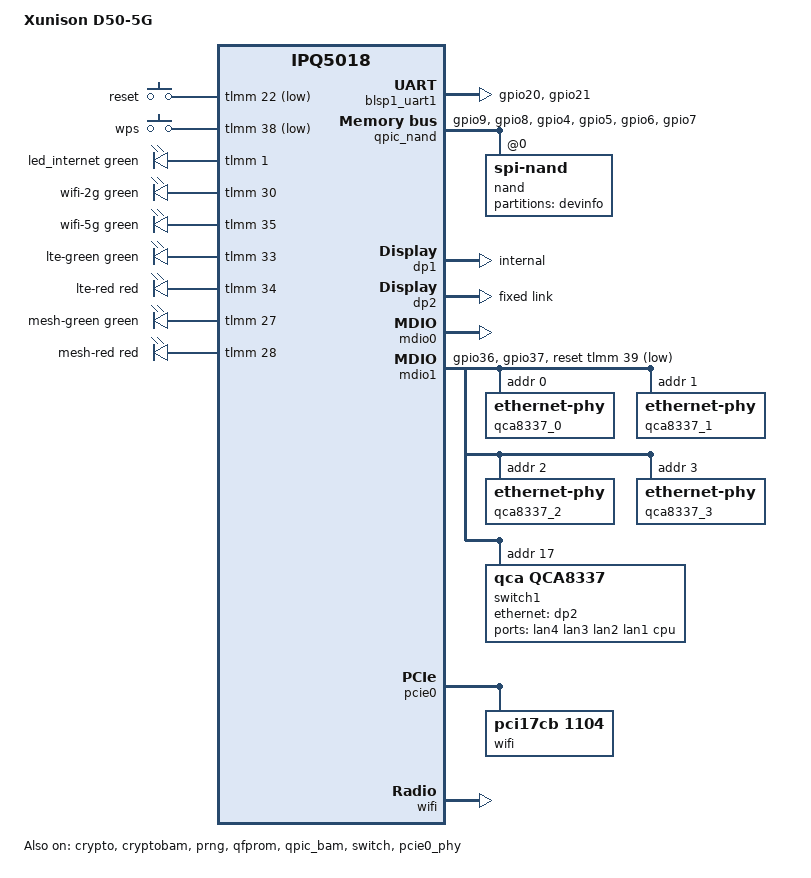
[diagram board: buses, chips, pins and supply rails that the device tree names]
// SPDX-License-Identifier: GPL-2.0-only OR MIT
// Copyright (c) 2024 OpenWrt contributors

/dts-v1/;

#include "ipq5018.dtsi"
#include "ipq5018-ess.dtsi"

#include <dt-bindings/gpio/gpio.h>
#include <dt-bindings/input/input.h>
#include <dt-bindings/leds/common.h>

/*
 * Xunison D50-5G Network Topology:
 *
 *  _______________________         _______________________
 * |        IPQ5018        |       |        QCA AR8327     |
 * | +------+   +--------+ |       | +--------+   +------+ |
 * | | MAC0 |---| GE PHY |-+--MDI-+->|  Phy0  |   | LAN4 | |
 * | +------+   +--------+ |  WAN  | +--------+          | |
 * | +------+   +--------+ |       | +--------+          | |
 * | | MAC1 |---| Uniphy |-+-SGMII-+>| SerDes |---| CPU  | |
 * | +------+   +--------+ |       | +--------+   +------+ |
 * |_______________________|       |      LAN1~LAN4        |
 *                                 |_______________________|
 *
 * WAN: dp1 (MAC0) -> internal GE PHY -> WAN port
 * LAN: dp2 (MAC1) -> SGMII -> QCA AR8327 CPU port -> 4x LAN
 */

/ {
	model = "Xunison D50-5G";
	compatible = "xunison,d50-5g", "qcom,ipq5018";

	aliases {
		serial0 = &blsp1_uart1;
		led-boot = &led_internet;
		led-failsafe = &led_internet;
		led-running = &led_internet;
		led-upgrade = &led_internet;
	};

	chosen {
		bootargs-append = " root=/dev/ubiblock0_0 coherent_pool=2M";
		stdout-path = "serial0:115200n8";
	};

	keys {
		compatible = "gpio-keys";
		pinctrl-0 = <&button_pins>;
		pinctrl-names = "default";

		reset-button {
			label = "reset";
			gpios = <&tlmm 22 GPIO_ACTIVE_LOW>;
			linux,code = <KEY_RESTART>;
			debounce-interval = <60>;
		};

		wps-button {
			label = "wps";
			gpios = <&tlmm 38 GPIO_ACTIVE_LOW>;
			linux,code = <KEY_WPS_BUTTON>;
			debounce-interval = <60>;
		};
	};

	leds {
		compatible = "gpio-leds";
		pinctrl-0 = <&led_pins>;
		pinctrl-names = "default";

		led_internet: internet {
			color = <LED_COLOR_ID_GREEN>;
			function = LED_FUNCTION_WAN;
			gpios = <&tlmm 1 GPIO_ACTIVE_HIGH>;
			default-state = "off";
		};

		wifi-2g {
			color = <LED_COLOR_ID_GREEN>;
			function = LED_FUNCTION_WLAN_2GHZ;
			gpios = <&tlmm 30 GPIO_ACTIVE_HIGH>;
			default-state = "off";
			linux,default-trigger = "phy0radio";
		};

		wifi-5g {
			color = <LED_COLOR_ID_GREEN>;
			function = LED_FUNCTION_WLAN_5GHZ;
			gpios = <&tlmm 35 GPIO_ACTIVE_HIGH>;
			default-state = "off";
			linux,default-trigger = "phy1radio";
		};

		lte-green {
			color = <LED_COLOR_ID_GREEN>;
			function = LED_FUNCTION_MOBILE;
			gpios = <&tlmm 33 GPIO_ACTIVE_HIGH>;
			default-state = "off";
		};

		lte-red {
			color = <LED_COLOR_ID_RED>;
			function = LED_FUNCTION_MOBILE;
			gpios = <&tlmm 34 GPIO_ACTIVE_HIGH>;
			default-state = "off";
		};

		mesh-green {
			color = <LED_COLOR_ID_GREEN>;
			function = LED_FUNCTION_INDICATOR;
			gpios = <&tlmm 27 GPIO_ACTIVE_HIGH>;
			default-state = "off";
		};

		mesh-red {
			color = <LED_COLOR_ID_RED>;
			function = LED_FUNCTION_INDICATOR;
			gpios = <&tlmm 28 GPIO_ACTIVE_HIGH>;
			default-state = "off";
		};
	};
};

&sleep_clk {
	clock-frequency = <32000>;
};

&xo_board_clk {
	clock-div = <4>;
	clock-mult = <1>;
};

&blsp1_uart1 {
	status = "okay";
	pinctrl-0 = <&serial_0_pins>;
	pinctrl-names = "default";
};

&crypto {
	status = "okay";
};

&cryptobam {
	status = "okay";
};

&prng {
	status = "okay";
};

&qfprom {
	status = "okay";
};

&qpic_bam {
	status = "okay";
};

&qpic_nand {
	pinctrl-0 = <&qpic_pins>;
	pinctrl-names = "default";
	status = "okay";

	nand@0 {
		compatible = "spi-nand";
		reg = <0>;
		nand-ecc-engine = <&qpic_nand>;
		nand-bus-width = <8>;

		partitions {
			compatible = "qcom,smem-part";

			partition-devinfo {
				label = "devinfo";
				read-only;

				nvmem-layout {
					compatible = "ascii-eq-delim-env";
					#address-cells = <1>;
					#size-cells = <1>;

					hw_mac_addr: hw_mac_addr {
						compatible = "mac-base";
						#nvmem-cell-cells = <1>;
					};
				};
			};
		};
	};
};

/* WAN: MAC0 -> internal GE PHY -> WAN port */
&dp1 {
	status = "okay";
	phy-mode = "internal";

	nvmem-cells = <&hw_mac_addr 0>;
	nvmem-cell-names = "mac-address";
};

/* LAN switch: MAC1 -> SGMII -> QCA AR8327 CPU port */
&dp2 {
	status = "okay";

	nvmem-cells = <&hw_mac_addr 1>;
	nvmem-cell-names = "mac-address";

	fixed-link {
		speed = <1000>;
		full-duplex;
	};
};

&switch {
	status = "okay";

	switch_mac_mode = <MAC_MODE_SGMII_CHANNEL0>;

	qcom,port_phyinfo {
		port@2 {
			port_id = <2>;
			forced-speed = <1000>;
			forced-duplex = <1>;
		};
	};
};

&mdio0 {
	status = "okay";
};

&mdio1 {
	status = "okay";
	pinctrl-0 = <&mdio1_pins>;
	pinctrl-names = "default";
	reset-gpios = <&tlmm 39 GPIO_ACTIVE_LOW>;

	qca8337_0: ethernet-phy@0 {
		reg = <0>;
	};

	qca8337_1: ethernet-phy@1 {
		reg = <1>;
	};

	qca8337_2: ethernet-phy@2 {
		reg = <2>;
	};

	qca8337_3: ethernet-phy@3 {
		reg = <3>;
	};

	/* QCA AR8327 switch */
	switch1: ethernet-switch@17 {
		compatible = "qca,qca8337";
		reg = <17>;
		#address-cells = <1>;
		#size-cells = <0>;

		ports {
			#address-cells = <1>;
			#size-cells = <0>;

			port@1 {
				reg = <1>;
				label = "lan4";
				phy-handle = <&qca8337_0>;
			};

			port@2 {
				reg = <2>;
				label = "lan3";
				phy-handle = <&qca8337_1>;
			};

			port@3 {
				reg = <3>;
				label = "lan2";
				phy-handle = <&qca8337_2>;
			};

			port@4 {
				reg = <4>;
				label = "lan1";
				phy-handle = <&qca8337_3>;
			};

			port@6 {
				reg = <6>;
				label = "cpu";
				phy-mode = "sgmii";
				ethernet = <&dp2>;
				qca,sgmii-enable-pll;

				fixed-link {
					speed = <1000>;
					full-duplex;
				};
			};
		};
	};
};

/* PCIe x2: QCN9074 5G WiFi module */
&pcie0 {
	status = "okay";
	perst-gpios = <&tlmm 15 GPIO_ACTIVE_LOW>;

	pcie@0 {
		wifi@0,0 {
			status = "okay";
			compatible = "pci17cb,1104";
			reg = <0x00010000 0 0 0 0>;
			qcom,ath11k-calibration-variant = "Xunison-D50-5G";
		};
	};
};

&pcie0_phy {
	status = "okay";
};

/* Internal IPQ5018 2.4G/5G radio */
&q6v5_wcss {
	firmware-name = "ath11k/IPQ5018/hw1.0/q6_fw.mdt",
			"ath11k/IPQ5018/hw1.0/m3_fw.mdt";
};

&wifi {
	qcom,rproc = <&q6v5_wcss>;
	qcom,ath11k-calibration-variant = "Xunison-D50-5G";
	qcom,ath11k-fw-memory-mode = <1>;
	status = "okay";
};

&tlmm {
	button_pins: button-state {
		pins = "gpio22", "gpio38";
		function = "gpio";
		drive-strength = <8>;
		bias-pull-up;
	};

	led_pins: led-state {
		pins = "gpio1", "gpio27", "gpio28", "gpio30",
		       "gpio33", "gpio34", "gpio35";
		function = "gpio";
		drive-strength = <8>;
		bias-pull-down;
	};

	mdio1_pins: mdio-state {
		mdc-pins {
			pins = "gpio36";
			function = "mdc";
			drive-strength = <8>;
			bias-pull-up;
		};

		mdio-pins {
			pins = "gpio37";
			function = "mdio";
			drive-strength = <8>;
			bias-pull-up;
		};
	};

	qpic_pins: qpic-state {
		clock-pins {
			pins = "gpio9";
			function = "qspi_clk";
			drive-strength = <8>;
			bias-disable;
		};

		cs-pins {
			pins = "gpio8";
			function = "qspi_cs";
			drive-strength = <8>;
			bias-disable;
		};

		data-pins {
			pins = "gpio4", "gpio5", "gpio6", "gpio7";
			function = "qspi_data";
			drive-strength = <8>;
			bias-disable;
		};
	};

	serial_0_pins: uart0-state {
		pins = "gpio20", "gpio21";
		function = "blsp0_uart0";
		bias-disable;
	};
};
